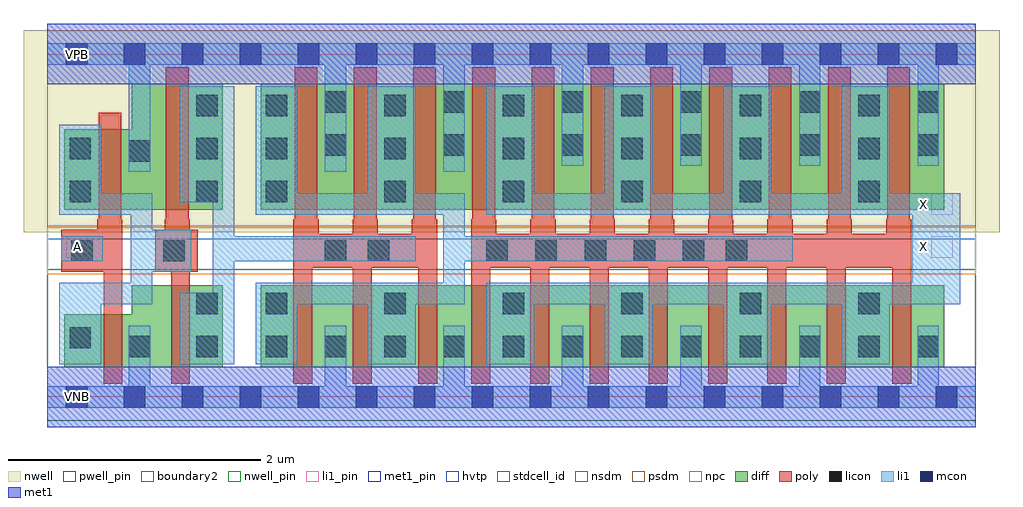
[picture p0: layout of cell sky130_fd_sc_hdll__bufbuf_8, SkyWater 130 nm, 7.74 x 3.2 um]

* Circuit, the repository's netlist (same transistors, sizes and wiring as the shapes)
* Copyright 2020 The SkyWater PDK Authors
*
* Licensed under the Apache License, Version 2.0 (the "License");
* you may not use this file except in compliance with the License.
* You may obtain a copy of the License at
*
*     https://www.apache.org/licenses/LICENSE-2.0
*
* Unless required by applicable law or agreed to in writing, software
* distributed under the License is distributed on an "AS IS" BASIS,
* WITHOUT WARRANTIES OR CONDITIONS OF ANY KIND, either express or implied.
* See the License for the specific language governing permissions and
* limitations under the License.
*
* SPDX-License-Identifier: Apache-2.0

.SUBCKT sky130_fd_sc_hdll__bufbuf_8 A VGND VNB VPB VPWR X
*.PININFO A:I VGND:I VNB:I VPB:I VPWR:I X:O
MMIN1 Ab A VGND VNB sky130_fd_pr__nfet_01v8 m=1 w=0.42U l=0.15U mult=1 sa=0.265
+ sb=0.265 sd=0.28 area=0.063 perim=1.14
MMIN2 Abb Ab VGND VNB sky130_fd_pr__nfet_01v8 m=1 w=0.65U l=0.15U mult=1 sa=0.265
+ sb=0.265 sd=0.28 area=0.063 perim=1.14
MMIN3 Abbb Abb VGND VNB sky130_fd_pr__nfet_01v8 m=3 w=0.65U l=0.15U mult=1 sa=0.265
+ sb=0.265 sd=0.28 area=0.063 perim=1.14
MMIN4 X Abbb VGND VNB sky130_fd_pr__nfet_01v8 m=8 w=0.65U l=0.15U mult=1 sa=0.265
+ sb=0.265 sd=0.28 area=0.063 perim=1.14
MMIP4 X Abbb VPWR VPB sky130_fd_pr__pfet_01v8_hvt m=8 w=1.0U l=0.18U mult=1 sa=0.265
+ sb=0.265 sd=0.28 area=0.063 perim=1.14
MMIP1 Ab A VPWR VPB sky130_fd_pr__pfet_01v8_hvt m=1 w=0.64U l=0.18U mult=1 sa=0.265
+ sb=0.265 sd=0.28 area=0.063 perim=1.14
MMIP2 Abb Ab VPWR VPB sky130_fd_pr__pfet_01v8_hvt m=1 w=1.0U l=0.18U mult=1 sa=0.265
+ sb=0.265 sd=0.28 area=0.063 perim=1.14
MI5 Abbb Abb VPWR VPB sky130_fd_pr__pfet_01v8_hvt m=3 w=1.0U l=0.18U mult=1 sa=0.265
+ sb=0.265 sd=0.28 area=0.063 perim=1.14
.ENDS sky130_fd_sc_hdll__bufbuf_8

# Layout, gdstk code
import gdstk
lib = gdstk.Library(unit=1e-6, precision=1e-09)
def R(c, l, rs):  # rectangles x0, y0, x1, y1
    for r in rs: c.add(gdstk.rectangle(r[:2], r[2:], *l))
def A(c, l, x, y, w, h, nx, ny, dx, dy):  # array of equal rectangles
    R(c, l, [(x+i*dx, y+j*dy, x+i*dx+w, y+j*dy+h) for i in range(nx) for j in range(ny)])
def P(c, l, *ps):  # polygons
    for p in ps: c.add(gdstk.Polygon(p, *l))
nwell_pin = (64, 16)
nwell = (64, 20)
diff = (65, 20)
poly = (66, 20)
licon = (66, 44)
li1_pin = (67, 16)
li1 = (67, 20)
mcon = (67, 44)
met1_pin = (68, 16)
met1 = (68, 20)
hvtp = (78, 44)
stdcell_id = (81, 4)
nsdm = (93, 44)
psdm = (94, 20)
npc = (95, 20)
pwell_pin = (122, 16)
boundary2 = (236, 0)

sky130_fd_sc_hdll__bufbu = lib.new_cell('sky130_fd_sc_hdll__bufbuf_8')
R(sky130_fd_sc_hdll__bufbu, nwell_pin, [(0.15,2.635,0.32,2.805)])
R(sky130_fd_sc_hdll__bufbu, nwell, [(-0.19,1.305,7.55,2.91)])
R(sky130_fd_sc_hdll__bufbu, diff, [(1.69,0.235,7.11,0.885), (1.69,1.485,7.11,2.485)])
P(sky130_fd_sc_hdll__bufbu, diff, [(1.39,2.485),(0.67,2.485),(0.67,2.125),(0.135,2.125),(0.135,1.485),(1.39,1.485)],
  [(1.39,0.885),(0.67,0.885),(0.67,0.655),(0.135,0.655),(0.135,0.235),(1.39,0.235)])
P(sky130_fd_sc_hdll__bufbu, poly, [(0.595,1.41),(0.585,1.41),(0.585,2.255),(0.405,2.255),(0.405,1.41),(0.395,1.41),(0.395,1.325),(0.11,1.325),(0.11,0.995),(0.445,0.995),(0.445,0.105),(0.595,0.105)],
  [(1.19,1.325),(1.13,1.325),(1.13,1.41),(1.12,1.41),(1.12,2.615),(0.94,2.615),(0.94,1.41),(0.93,1.41),(0.93,1.325),(0.855,1.325),(0.855,0.995),(0.98,0.995),(0.98,0.105),(1.13,0.105),(1.13,0.995),(1.19,0.995)],
  [(3.09,1.41),(3.08,1.41),(3.08,2.615),(2.9,2.615),(2.9,1.41),(2.89,1.41),(2.89,1.295),(2.62,1.295),(2.62,1.41),(2.61,1.41),(2.61,2.615),(2.43,2.615),(2.43,1.41),(2.42,1.41),(2.42,1.295),(2.15,1.295),(2.15,1.41),(2.14,1.41),(2.14,2.615),(1.96,2.615),(1.96,1.41),(1.95,1.41),(1.95,0.105),(2.1,0.105),(2.1,1.025),(2.42,1.025),(2.42,0.105),(2.57,0.105),(2.57,1.025),(2.94,1.025),(2.94,0.105),(3.09,0.105)],
  [(6.85,1.41),(6.84,1.41),(6.84,2.615),(6.66,2.615),(6.66,1.41),(6.65,1.41),(6.65,1.295),(6.38,1.295),(6.38,1.41),(6.37,1.41),(6.37,2.615),(6.19,2.615),(6.19,1.41),(6.18,1.41),(6.18,1.295),(5.91,1.295),(5.91,1.41),(5.9,1.41),(5.9,2.615),(5.72,2.615),(5.72,1.41),(5.71,1.41),(5.71,1.295),(5.44,1.295),(5.44,1.41),(5.43,1.41),(5.43,2.615),(5.25,2.615),(5.25,1.41),(5.24,1.41),(5.24,1.295),(4.97,1.295),(4.97,1.41),(4.96,1.41),(4.96,2.615),(4.78,2.615),(4.78,1.41),(4.77,1.41),(4.77,1.295),(4.5,1.295),(4.5,1.41),(4.49,1.41),(4.49,2.615),(4.31,2.615),(4.31,1.41),(4.3,1.41),(4.3,1.295),(4.03,1.295),(4.03,1.41),(4.02,1.41),(4.02,2.615),(3.84,2.615),(3.84,1.41),(3.83,1.41),(3.83,1.295),(3.56,1.295),(3.56,1.41),(3.55,1.41),(3.55,2.615),(3.37,2.615),(3.37,1.41),(3.36,1.41),(3.36,0.105),(3.51,0.105),(3.51,1.025),(3.83,1.025),(3.83,0.105),(3.98,0.105),(3.98,1.025),(4.3,1.025),(4.3,0.105),(4.45,0.105),(4.45,1.025),(4.77,1.025),(4.77,0.105),(4.92,0.105),(4.92,1.025),(5.24,1.025),(5.24,0.105),(5.39,0.105),(5.39,1.025),(5.71,1.025),(5.71,0.105),(5.86,0.105),(5.86,1.025),(6.18,1.025),(6.18,0.105),(6.33,0.105),(6.33,1.025),(6.7,1.025),(6.7,0.105),(6.85,0.105)])
A(sky130_fd_sc_hdll__bufbu, licon, 1.73, 0.315, 0.17, 0.17, 12, 1, 0.47, 0)
A(sky130_fd_sc_hdll__bufbu, licon, 1.73, 0.655, 0.17, 0.17, 6, 2, 0.94, 0.89)
A(sky130_fd_sc_hdll__bufbu, licon, 3.48, 1.075, 0.17, 0.17, 5, 1, 0.39, 0)
A(sky130_fd_sc_hdll__bufbu, licon, 1.18, 1.545, 0.17, 0.17, 1, 3, 0, 0.34)
A(sky130_fd_sc_hdll__bufbu, licon, 1.73, 1.885, 0.17, 0.17, 6, 2, 0.94, 0.34)
A(sky130_fd_sc_hdll__bufbu, licon, 2.2, 1.915, 0.17, 0.17, 6, 2, 0.94, 0.34)
R(sky130_fd_sc_hdll__bufbu, licon, [(0.645,0.315,0.815,0.485), (1.18,0.315,1.35,0.485), (0.175,0.385,0.345,0.555), (1.18,0.655,1.35,0.825), (0.19,1.075,0.36,1.245), (0.92,1.075,1.09,1.245), (2.2,1.075,2.37,1.245), (2.54,1.075,2.71,1.245), (5.38,1.075,5.55,1.245), (0.175,1.545,0.345,1.715), (0.645,1.865,0.815,2.035), (0.175,1.885,0.345,2.055)])
R(sky130_fd_sc_hdll__bufbu, li1_pin, [(0.15,1.105,0.32,1.275), (7.01,1.105,7.18,1.275), (7.01,1.445,7.18,1.615)])
R(sky130_fd_sc_hdll__bufbu, li1, [(0.11,1.075,0.44,1.275)])
P(sky130_fd_sc_hdll__bufbu, li1, [(1.14,1.325),(0.83,1.325),(0.83,1.615),(0.425,1.615),(0.425,2.16),(0.095,2.16),(0.095,1.445),(0.66,1.445),(0.66,0.905),(0.095,0.905),(0.095,0.26),(0.425,0.26),(0.425,0.735),(0.83,0.735),(0.83,0.995),(1.14,0.995)],
  [(7.36,0.085),(7.07,0.085),(7.07,0.565),(6.9,0.565),(6.9,0.085),(6.13,0.085),(6.13,0.565),(5.96,0.565),(5.96,0.085),(5.19,0.085),(5.19,0.565),(5.02,0.565),(5.02,0.085),(4.25,0.085),(4.25,0.565),(4.08,0.565),(4.08,0.085),(3.31,0.085),(3.31,0.565),(3.14,0.565),(3.14,0.085),(2.37,0.085),(2.37,0.565),(2.2,0.565),(2.2,0.085),(0.815,0.085),(0.815,0.565),(0.645,0.565),(0.645,0.085),(0,0.085),(0,-0.085),(7.36,-0.085)],
  [(7.36,2.805),(0,2.805),(0,2.635),(0.645,2.635),(0.645,1.785),(0.815,1.785),(0.815,2.635),(2.2,2.635),(2.2,1.785),(2.37,1.785),(2.37,2.635),(3.14,2.635),(3.14,1.785),(3.31,1.785),(3.31,2.635),(4.08,2.635),(4.08,1.835),(4.25,1.835),(4.25,2.635),(5.02,2.635),(5.02,1.835),(5.19,1.835),(5.19,2.635),(5.96,2.635),(5.96,1.835),(6.13,1.835),(6.13,2.635),(6.9,2.635),(6.9,1.835),(7.07,1.835),(7.07,2.635),(7.36,2.635)],
  [(2.92,1.275),(1.48,1.275),(1.48,2.465),(1.05,2.465),(1.05,1.545),(1.31,1.545),(1.31,0.825),(1.05,0.825),(1.05,0.26),(1.48,0.26),(1.48,1.075),(2.92,1.075)],
  [(5.91,1.275),(3.31,1.275),(3.31,1.615),(2.92,1.615),(2.92,2.465),(2.54,2.465),(2.54,1.615),(1.98,1.615),(1.98,2.465),(1.65,2.465),(1.65,1.445),(3.14,1.445),(3.14,0.905),(1.65,0.905),(1.65,0.26),(1.98,0.26),(1.98,0.735),(2.54,0.735),(2.54,0.26),(2.92,0.26),(2.92,0.735),(3.31,0.735),(3.31,1.075),(5.91,1.075)],
  [(7.24,1.615),(6.68,1.615),(6.68,2.465),(6.3,2.465),(6.3,1.615),(5.74,1.615),(5.74,2.465),(5.36,2.465),(5.36,1.615),(4.8,1.615),(4.8,2.465),(4.42,2.465),(4.42,1.615),(3.86,1.615),(3.86,2.465),(3.48,2.465),(3.48,1.445),(6.86,1.445),(6.86,0.905),(3.48,0.905),(3.48,0.26),(3.86,0.26),(3.86,0.735),(4.42,0.735),(4.42,0.26),(4.8,0.26),(4.8,0.735),(5.36,0.735),(5.36,0.26),(5.74,0.26),(5.74,0.735),(6.3,0.735),(6.3,0.26),(6.68,0.26),(6.68,0.735),(7.24,0.735)])
A(sky130_fd_sc_hdll__bufbu, mcon, 0.145, -0.085, 0.17, 0.17, 16, 2, 0.46, 2.72)
R(sky130_fd_sc_hdll__bufbu, met1_pin, [(0.15,-0.085,0.32,0.085), (0.15,2.635,0.32,2.805)])
R(sky130_fd_sc_hdll__bufbu, met1, [(0,-0.24,7.36,0.24), (0,2.48,7.36,2.96)])
R(sky130_fd_sc_hdll__bufbu, hvtp, [(0,1.25,7.36,2.72)])
R(sky130_fd_sc_hdll__bufbu, stdcell_id, [(0,0,7.36,2.72)])
R(sky130_fd_sc_hdll__bufbu, nsdm, [(0,-0.19,7.36,1.015)])
R(sky130_fd_sc_hdll__bufbu, psdm, [(0,1.355,7.36,2.91)])
R(sky130_fd_sc_hdll__bufbu, npc, [(0,0.975,7.36,1.345)])
R(sky130_fd_sc_hdll__bufbu, pwell_pin, [(0.15,-0.085,0.32,0.085)])
R(sky130_fd_sc_hdll__bufbu, boundary2, [(0,0,7.36,2.72)])
sky130_fd_sc_hdll__bufbu.add(gdstk.Label('A', (0.235,1.19), layer=67, texttype=5))
sky130_fd_sc_hdll__bufbu.add(gdstk.Label('X', (6.95,1.19), layer=67, texttype=5))
sky130_fd_sc_hdll__bufbu.add(gdstk.Label('X', (6.95,1.53), layer=67, texttype=5))
sky130_fd_sc_hdll__bufbu.add(gdstk.Label('VNB', (0.235,0), layer=64, texttype=59))
sky130_fd_sc_hdll__bufbu.add(gdstk.Label('VPB', (0.235,2.72), layer=64, texttype=5))
sky130_fd_sc_hdll__bufbu.add(gdstk.Label('VGND', (0.23,0), layer=68, texttype=5))
sky130_fd_sc_hdll__bufbu.add(gdstk.Label('VPWR', (0.235,2.72), layer=68, texttype=5))

lib.write_gds('sky130_fd_sc_hdll__bufbuf_8.gds')
